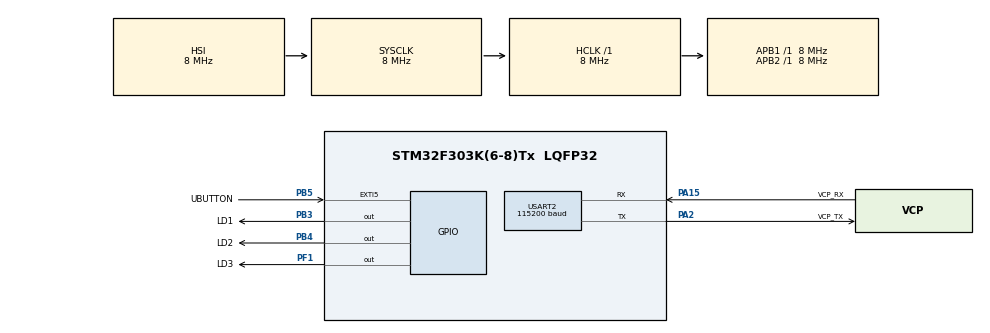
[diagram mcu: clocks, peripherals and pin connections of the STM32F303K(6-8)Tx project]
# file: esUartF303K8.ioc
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Mcu.Family=STM32F3
Mcu.Name=STM32F303K(6-8)Tx
Mcu.Package=LQFP32
NVIC.EXTI9_5_IRQn=true\:0\:0\:false\:false\:true\:true\:true\:true
NVIC.PriorityGroup=NVIC_PRIORITYGROUP_4
NVIC.USART2_IRQn=true\:0\:0\:false\:false\:true\:true\:true\:true
PA13.GPIO_Label=SWDIO
PA13.Signal=SYS_JTMS-SWDIO
PA14.GPIO_Label=SWCLK
PA14.Signal=SYS_JTCK-SWCLK
PA15.GPIO_Label=VCP_RX
PA15.Mode=Asynchronous
PA15.Signal=USART2_RX
PA2.GPIO_Label=VCP_TX
PA2.Mode=Asynchronous
PA2.Signal=USART2_TX
PB3.GPIO_Label=LD1
PB3.Signal=GPIO_Output
PB4.GPIO_Label=LD2
PB4.Signal=GPIO_Output
PB5.GPIO_Label=UBUTTON
PB5.GPIO_ModeDefaultEXTI=GPIO_MODE_IT_FALLING
PB5.Signal=GPXTI5
PF0\ /\ OSC_IN.GPIO_Label=MCO
PF0\ /\ OSC_IN.Signal=RCC_OSC_IN
PF1\ /\ OSC_OUT.GPIO_Label=LD3
PF1\ /\ OSC_OUT.Signal=GPIO_Output
ProjectManager.HeapSize=0x200
ProjectManager.StackSize=0x400
ProjectManager.TargetToolchain=STM32CubeIDE
RCC.AHBFreq_Value=8000000
RCC.APB1Freq_Value=8000000
RCC.APB2Freq_Value=8000000
RCC.CortexFreq_Value=8000000
RCC.HSE_VALUE=8000000
RCC.HSI_VALUE=8000000
RCC.SYSCLKFreq_VALUE=8000000
USART2.BaudRate=115200
USART2.VirtualMode-Asynchronous=VM_ASYNC
board=NUCLEO-F303K8

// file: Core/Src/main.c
/* USER CODE BEGIN Header */
/**
  ******************************************************************************
  * @file           : main.c
  * @brief          : Main program body
  ******************************************************************************
  * @attention
  *
  * Copyright (c) 2025 STMicroelectronics.
  * All rights reserved.
  *
  * This software is licensed under terms that can be found in the LICENSE file
  * in the root directory of this software component.
  * If no LICENSE file comes with this software, it is provided AS-IS.
  *
  ******************************************************************************
  */
/* USER CODE END Header */
#include "main.h"

/* USER CODE BEGIN Includes */
#include <string.h>
/* USER CODE END Includes */

/* USER CODE BEGIN PD */
#define DB_TIME 250
#define INITIAL 1
#define LIMIT 3
/* USER CODE END PD */

UART_HandleTypeDef huart2;

/* USER CODE BEGIN PV */
unsigned long lastState=0;
uint16_t generalCounter=0;
uint8_t statusLedCounter=0;
uint8_t status;
uint8_t direction=1;
uint8_t aux=1;

char message11[]="Boton presionado ";
char message12[]=" veces";
char message21[]="LED";
char message22[]=" encendido";
char message23[]=" apagado";

/* USER CODE END PV */

void SystemClock_Config(void);
static void MX_GPIO_Init(void);
static void MX_USART2_UART_Init(void);
/* USER CODE BEGIN PFP */
char* utoa(uint32_t value, char* buffer);
void printUtoa(uint32_t value);
void HAL_GPIO_EXTI_Callback(uint16_t GPIO_Pin);
void updateLed(uint8_t counter);
void printingResult(uint16_t grlC, uint8_t ledC, uint8_t stat);
/* USER CODE END PFP */

int main(void)
{

  /* MCU Configuration--------------------------------------------------------*/

  /* Reset of all peripherals, Initializes the Flash interface and the Systick. */
  HAL_Init();

  /* Configure the system clock */
  SystemClock_Config();

  /* Initialize all configured peripherals */
  MX_GPIO_Init();
  MX_USART2_UART_Init();

  /* Infinite loop */
  /* USER CODE BEGIN WHILE */

  HAL_GPIO_WritePin(LD1_GPIO_Port, LD1_Pin, RESET);
  HAL_GPIO_WritePin(LD2_GPIO_Port, LD2_Pin, RESET);
  HAL_GPIO_WritePin(LD3_GPIO_Port, LD3_Pin, RESET);
  while(statusLedCounter==0);
  while (1)
  {
	  while(statusLedCounter<(LIMIT*2)){
		  updateLed(statusLedCounter);
	  }	  statusLedCounter=0;
	  /*while(statusLedCounter<=6){
		  updateLed(statusLedCounter);
	  }
	  statusLedCounter=1;*/
    /* USER CODE END WHILE */

  }
}

void SystemClock_Config(void)
{
  RCC_OscInitTypeDef RCC_OscInitStruct = {0};
  RCC_ClkInitTypeDef RCC_ClkInitStruct = {0};

  /** Initializes the RCC Oscillators according to the specified parameters
  * in the RCC_OscInitTypeDef structure.
  */
  RCC_OscInitStruct.OscillatorType = RCC_OSCILLATORTYPE_HSI;
  RCC_OscInitStruct.HSIState = RCC_HSI_ON;
  RCC_OscInitStruct.HSICalibrationValue = RCC_HSICALIBRATION_DEFAULT;
  RCC_OscInitStruct.PLL.PLLState = RCC_PLL_NONE;
  if (HAL_RCC_OscConfig(&RCC_OscInitStruct) != HAL_OK)
  {
    Error_Handler();
  }

  /** Initializes the CPU, AHB and APB buses clocks
  */
  RCC_ClkInitStruct.ClockType = RCC_CLOCKTYPE_HCLK|RCC_CLOCKTYPE_SYSCLK
                              |RCC_CLOCKTYPE_PCLK1|RCC_CLOCKTYPE_PCLK2;
  RCC_ClkInitStruct.SYSCLKSource = RCC_SYSCLKSOURCE_HSI;
  RCC_ClkInitStruct.AHBCLKDivider = RCC_SYSCLK_DIV1;
  RCC_ClkInitStruct.APB1CLKDivider = RCC_HCLK_DIV1;
  RCC_ClkInitStruct.APB2CLKDivider = RCC_HCLK_DIV1;

  if (HAL_RCC_ClockConfig(&RCC_ClkInitStruct, FLASH_LATENCY_0) != HAL_OK)
  {
    Error_Handler();
  }
}

static void MX_USART2_UART_Init(void)
{

  huart2.Instance = USART2;
  huart2.Init.BaudRate = 115200;
  huart2.Init.WordLength = UART_WORDLENGTH_8B;
  huart2.Init.StopBits = UART_STOPBITS_1;
  huart2.Init.Parity = UART_PARITY_NONE;
  huart2.Init.Mode = UART_MODE_TX_RX;
  huart2.Init.HwFlowCtl = UART_HWCONTROL_NONE;
  huart2.Init.OverSampling = UART_OVERSAMPLING_16;
  huart2.Init.OneBitSampling = UART_ONE_BIT_SAMPLE_DISABLE;
  huart2.AdvancedInit.AdvFeatureInit = UART_ADVFEATURE_NO_INIT;
  if (HAL_UART_Init(&huart2) != HAL_OK)
  {
    Error_Handler();
  }

}

static void MX_GPIO_Init(void)
{
  GPIO_InitTypeDef GPIO_InitStruct = {0};

  /* GPIO Ports Clock Enable */
  __HAL_RCC_GPIOF_CLK_ENABLE();
  __HAL_RCC_GPIOA_CLK_ENABLE();
  __HAL_RCC_GPIOB_CLK_ENABLE();

  /*Configure GPIO pin Output Level */
  HAL_GPIO_WritePin(LD3_GPIO_Port, LD3_Pin, GPIO_PIN_RESET);

  /*Configure GPIO pin Output Level */
  HAL_GPIO_WritePin(GPIOB, LD1_Pin|LD2_Pin, GPIO_PIN_RESET);

  /*Configure GPIO pin : LD3_Pin */
  GPIO_InitStruct.Pin = LD3_Pin;
  GPIO_InitStruct.Mode = GPIO_MODE_OUTPUT_PP;
  GPIO_InitStruct.Pull = GPIO_NOPULL;
  GPIO_InitStruct.Speed = GPIO_SPEED_FREQ_LOW;
  HAL_GPIO_Init(LD3_GPIO_Port, &GPIO_InitStruct);

  /*Configure GPIO pins : LD1_Pin LD2_Pin */
  GPIO_InitStruct.Pin = LD1_Pin|LD2_Pin;
  GPIO_InitStruct.Mode = GPIO_MODE_OUTPUT_PP;
  GPIO_InitStruct.Pull = GPIO_NOPULL;
  GPIO_InitStruct.Speed = GPIO_SPEED_FREQ_LOW;
  HAL_GPIO_Init(GPIOB, &GPIO_InitStruct);

  /*Configure GPIO pin : UBUTTON_Pin */
  GPIO_InitStruct.Pin = UBUTTON_Pin;
  GPIO_InitStruct.Mode = GPIO_MODE_IT_FALLING;
  GPIO_InitStruct.Pull = GPIO_NOPULL;
  HAL_GPIO_Init(UBUTTON_GPIO_Port, &GPIO_InitStruct);

  /* EXTI interrupt init*/
  HAL_NVIC_SetPriority(EXTI9_5_IRQn, 0, 0);
  HAL_NVIC_EnableIRQ(EXTI9_5_IRQn);

}

/* USER CODE BEGIN 4 */
char* utoa(uint32_t value, char* buffer) {
    char* ptr = buffer;
    char* ptr1 = buffer;
    char tmp_char;
    uint32_t tmp_value;
    do {
        tmp_value = value;
        value /= 10;
        *ptr++ = '0' + (tmp_value - (value * 10));
    } while (value != 0);

    *ptr-- = '\0';
    while (ptr1 < ptr) {
        tmp_char = *ptr;
        *ptr-- = *ptr1;
        *ptr1++ = tmp_char;
    }

    return buffer;
}
void printUtoa(uint32_t value) {
	static char buffer[12];
    utoa(value, buffer);
    HAL_UART_Transmit(&huart2, (uint8_t*)buffer, strlen(buffer), HAL_MAX_DELAY);
}

void HAL_GPIO_EXTI_Callback(uint16_t GPIO_Pin)
{

	if (GPIO_Pin == GPIO_PIN_5) {
		if(HAL_GPIO_ReadPin(UBUTTON_GPIO_Port, UBUTTON_Pin) == 0){
			if ((HAL_GetTick() - lastState) > DB_TIME){
				generalCounter++;
				statusLedCounter++;
				if (statusLedCounter==INITIAL){
					aux=INITIAL;
				}
				else if (statusLedCounter==(LIMIT+1)){
					aux=LIMIT;
				}
				else if (statusLedCounter>(LIMIT) && statusLedCounter<=(LIMIT*2)){
					aux--;
				}
				else if (statusLedCounter>INITIAL && statusLedCounter<=LIMIT){
					aux++;
				}
			    if(statusLedCounter>=INITIAL && statusLedCounter<(LIMIT)){
					status=1;
				}
				else if(statusLedCounter>LIMIT && statusLedCounter<=(LIMIT*2)){
					status=0;
				}
				//printUtoa(aux);
				printingResult(generalCounter, aux, status);
			}
		  	lastState=HAL_GetTick();

		}

    }
}
void updateLed(uint8_t counter){
	switch(counter){
		case 1:
			HAL_GPIO_WritePin(LD1_GPIO_Port, LD1_Pin, SET); break;
		case 2:
			HAL_GPIO_WritePin(LD2_GPIO_Port, LD2_Pin, SET); break;
		case 3:
			HAL_GPIO_WritePin(LD3_GPIO_Port, LD3_Pin, GPIO_PIN_SET); break;
		case 4:
			HAL_GPIO_WritePin(LD3_GPIO_Port, LD3_Pin, RESET); break;
		case 5:
			HAL_GPIO_WritePin(LD2_GPIO_Port, LD2_Pin, RESET); break;
		case 6:
			HAL_GPIO_WritePin(LD1_GPIO_Port, LD1_Pin, RESET); break;
		default:
			HAL_GPIO_WritePin(LD1_GPIO_Port, LD1_Pin, RESET);
			HAL_GPIO_WritePin(LD2_GPIO_Port, LD2_Pin, RESET);
			HAL_GPIO_WritePin(LD3_GPIO_Port, LD3_Pin, RESET);
			break;
	}
}
void printingResult(uint16_t grlC, uint8_t ledC, uint8_t stat){
	HAL_UART_Transmit(&huart2, (uint8_t*)message11, strlen(message11), HAL_MAX_DELAY);
	printUtoa(grlC);
	HAL_UART_Transmit(&huart2, (uint8_t*)message12, strlen(message12), HAL_MAX_DELAY);
	HAL_UART_Transmit(&huart2, (uint8_t*)"\n", 1, HAL_MAX_DELAY);

	HAL_UART_Transmit(&huart2, (uint8_t*)message21, strlen(message21), HAL_MAX_DELAY);
	printUtoa(ledC);
	if (status==1)	{HAL_UART_Transmit(&huart2, (uint8_t*)message22, strlen(message22), HAL_MAX_DELAY);}
	else			{HAL_UART_Transmit(&huart2, (uint8_t*)message23, strlen(message23), HAL_MAX_DELAY);}
	HAL_UART_Transmit(&huart2, (uint8_t*)"\n", 1, HAL_MAX_DELAY);

}
/* USER CODE END 4 */

void Error_Handler(void)
{
  __disable_irq();
  while (1)
  {
  }
}
